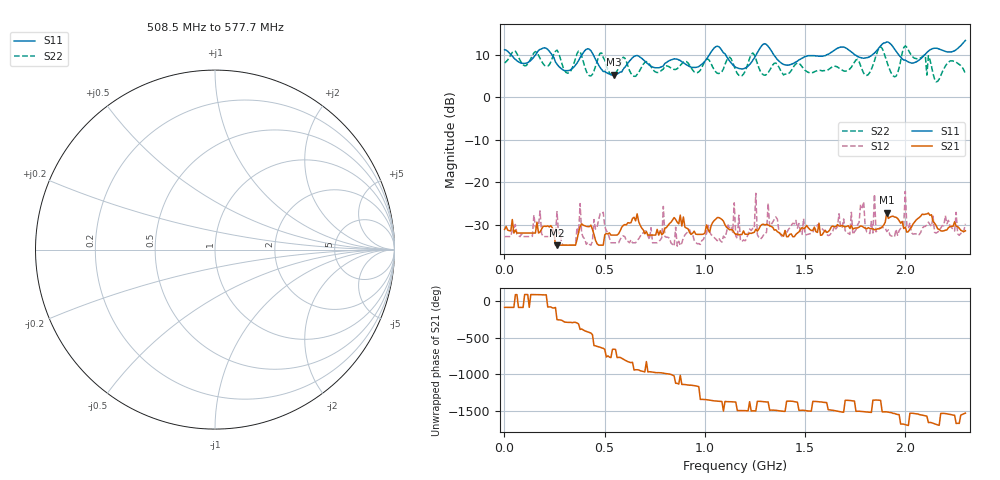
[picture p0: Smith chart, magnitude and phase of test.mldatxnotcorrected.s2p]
# Hz S DB R 50.000000
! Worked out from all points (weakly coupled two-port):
!   300 points, 1 MHz to 2.3 GHz, reference 50 ohm
!   highest |S21| = -27.16 dB at 1.908 GHz (marker M1); lowest = -34.9 dB at 262.4 MHz (marker M2)
!   lowest |S11| = 5.4 dB at 546.9 MHz (marker M3)
!   |S11| at or under -10 dB: nowhere
!   |S22| runs from 3.7 to 12.2 dB; largest |S21 - S12| = 0.099
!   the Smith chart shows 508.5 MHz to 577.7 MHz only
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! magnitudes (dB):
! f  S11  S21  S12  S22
! 1 MHz  11.3  -31.1  -32.8  8.2
! 262.4 MHz  7.9  -34.9  -27.0  11.2
! 385.4 MHz  10.0  -29.8  -32.1  9.8
! 546.9 MHz  5.4  -32.5  -34.3  5.4
! 769.9 MHz  7.0  -32.5  -34.0  5.9
! 793 MHz  7.5  -32.0  -25.7  6.7
! 846.8 MHz  9.1  -28.3  -35.1  6.6
! 1.147 GHz  7.4  -32.0  -24.9  7.3
! 1.154 GHz  7.1  -32.3  -32.7  6.4
! 1.247 GHz  9.3  -31.8  -31.0  10.1
! 1.254 GHz  9.9  -31.1  -22.6  9.1
! 1.277 GHz  11.8  -30.3  -33.4  6.2
! 1.316 GHz  12.1  -30.1  -24.9  5.8
! 1.539 GHz  9.9  -31.3  -31.9  5.9
! 1.839 GHz  10.2  -31.1  -32.0  7.6
! 1.846 GHz  10.5  -31.2  -22.8  8.7
! 1.854 GHz  10.9  -31.2  -31.7  9.9
! 1.908 GHz  13.1  -27.2  -31.7  8.5
! 1.923 GHz  12.8  -28.3  -32.5  6.5
! 2 GHz  8.8  -30.6  -22.2  12.2
! 2.039 GHz  8.1  -29.9  -32.3  9.5
! 2.3 GHz  13.5  -31.5  -29.8  5.6
